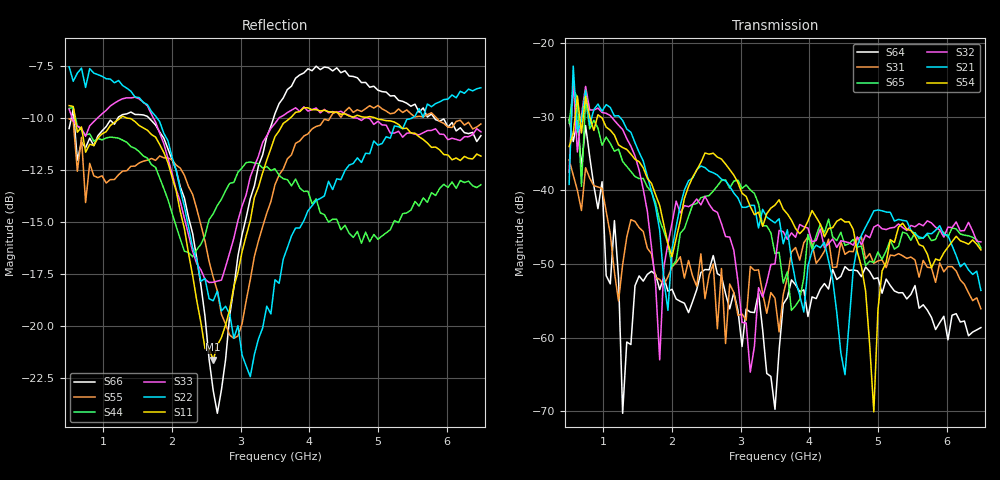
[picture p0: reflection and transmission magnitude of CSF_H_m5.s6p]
!Keysight Technologies,M9804A,MY58100912,A.14.10.03
!Date: Thursday, April 27, 2023 10:28:33
!Correction: S11(C  6-Port  )
!S12(C  6-Port  )
!S13(C  6-Port  )
!S14(C  6-Port  )
!S15(C  6-Port  )
!S16(C  6-Port  )
!S21(C  6-Port  )
!S22(C  6-Port  )
!S23(C  6-Port  )
!S24(C  6-Port  )
!S25(C  6-Port  )
!S26(C  6-Port  )
!S31(C  6-Port  )
!S32(C  6-Port  )
!S33(C  6-Port  )
!S34(C  6-Port  )
!S35(C  6-Port  )
!S36(C  6-Port  )
!S41(C  6-Port  )
!S42(C  6-Port  )
!S43(C  6-Port  )
!S44(C  6-Port  )
!S45(C  6-Port  )
!S46(C  6-Port  )
!S51(C  6-Port  )
!S52(C  6-Port  )
!S53(C  6-Port  )
!S54(C  6-Port  )
!S55(C  6-Port  )
!S56(C  6-Port  )
!S61(C  6-Port  )
!S62(C  6-Port  )
!S63(C  6-Port  )
!S64(C  6-Port  )
!S65(C  6-Port  )
!S66(C  6-Port  )
!S6P File: Measurement: :
# Hz S  RI  R 50
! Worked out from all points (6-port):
!   101 points, 500 MHz to 6.5 GHz, reference 50 ohm
!   strongest paths, dB at 500 MHz, 2 GHz, 3.5 GHz, 5 GHz, 6.5 GHz:
!     S54: -34.1, -49.0, -42.0, -56.2, -48.1
!     S21: -39.2, -47.9, -44.4, -42.7, -53.6
!     S32: -37.5, -44.4, -50.0, -44.7, -47.0
!     S65: -30.9, -50.3, -48.6, -48.4, -47.8
!     S31: -35.9, -50.4, -54.6, -49.6, -56.1
!     S64: -30.4, -53.4, -69.7, -51.9, -58.6
!   lowest |S11| = -21.6 dB at 2.6 GHz (marker M1), VSWR 1.18, Z = 42.6 + j2.04 ohm
!   |S11| at or under -10 dB: 587.7 MHz to 1.24 GHz (652.7 MHz wide, 71.4 % of centre); 1.376 GHz to 3.715 GHz (2.339 GHz wide, 91.9 % of centre); 4.974 GHz to end of sweep
